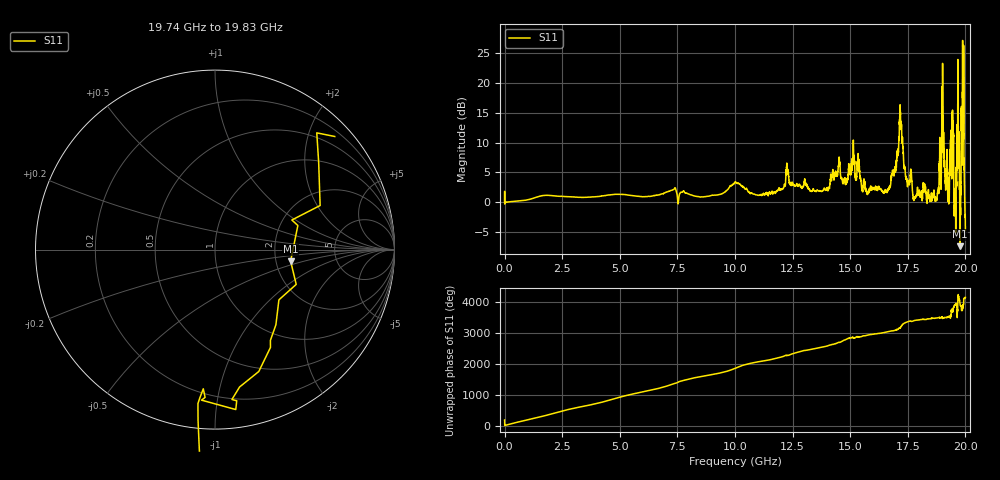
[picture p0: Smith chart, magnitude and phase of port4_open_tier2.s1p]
! Created with skrf 1.8.0 (http://scikit-rf.org).
# GHz S RI R 50.0
!freq ReS11 ImS11
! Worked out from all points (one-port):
!   10001 points, 1 MHz to 20 GHz, reference 50 ohm
!   lowest |S11| = -7.4 dB at 19.76 GHz (marker M1), VSWR 2.49, Z = 121 - j19.1 ohm
!   |S11| at or under -10 dB: nowhere
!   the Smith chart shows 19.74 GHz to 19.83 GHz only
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0.001  -0.9971 0.0062
1.526924  0.1476 -1.114
2.500875  -0.4102 1.04
4.062797  1.109 0.0974
5.00075  -1.108 -0.358
6.526674  -0.0856 1.134
7.500625  0.6549 -0.8893
8.80856  -1.117 -0.0636
9.516524  0.3644 -1.141
10.0005  0.9115 1.145
10.42048  -1.255 0.3232
11.03845  -0.0743 -1.139
11.82241  1.179 0.4134
12.50038  -1.38 0.4734
13.03235  -0.0932 -1.527
13.71031  1.236 0.0611
14.55227  -2.103 0.3069
15.00025  1.101 -1.464
16.30018  -0.3351 1.252
16.96415  -1.638 -0.6964
17.12014  -0.6917 -3.389
17.24814  3.069 0.548
17.50013  -0.7522 1.199
18.76006  -0.5134 -0.926
18.97405  -0.6436 -3.597
19.37203  1.432 -2.063
19.76401  0.4214 -0.0647
20  -0.5782 -0.0404
